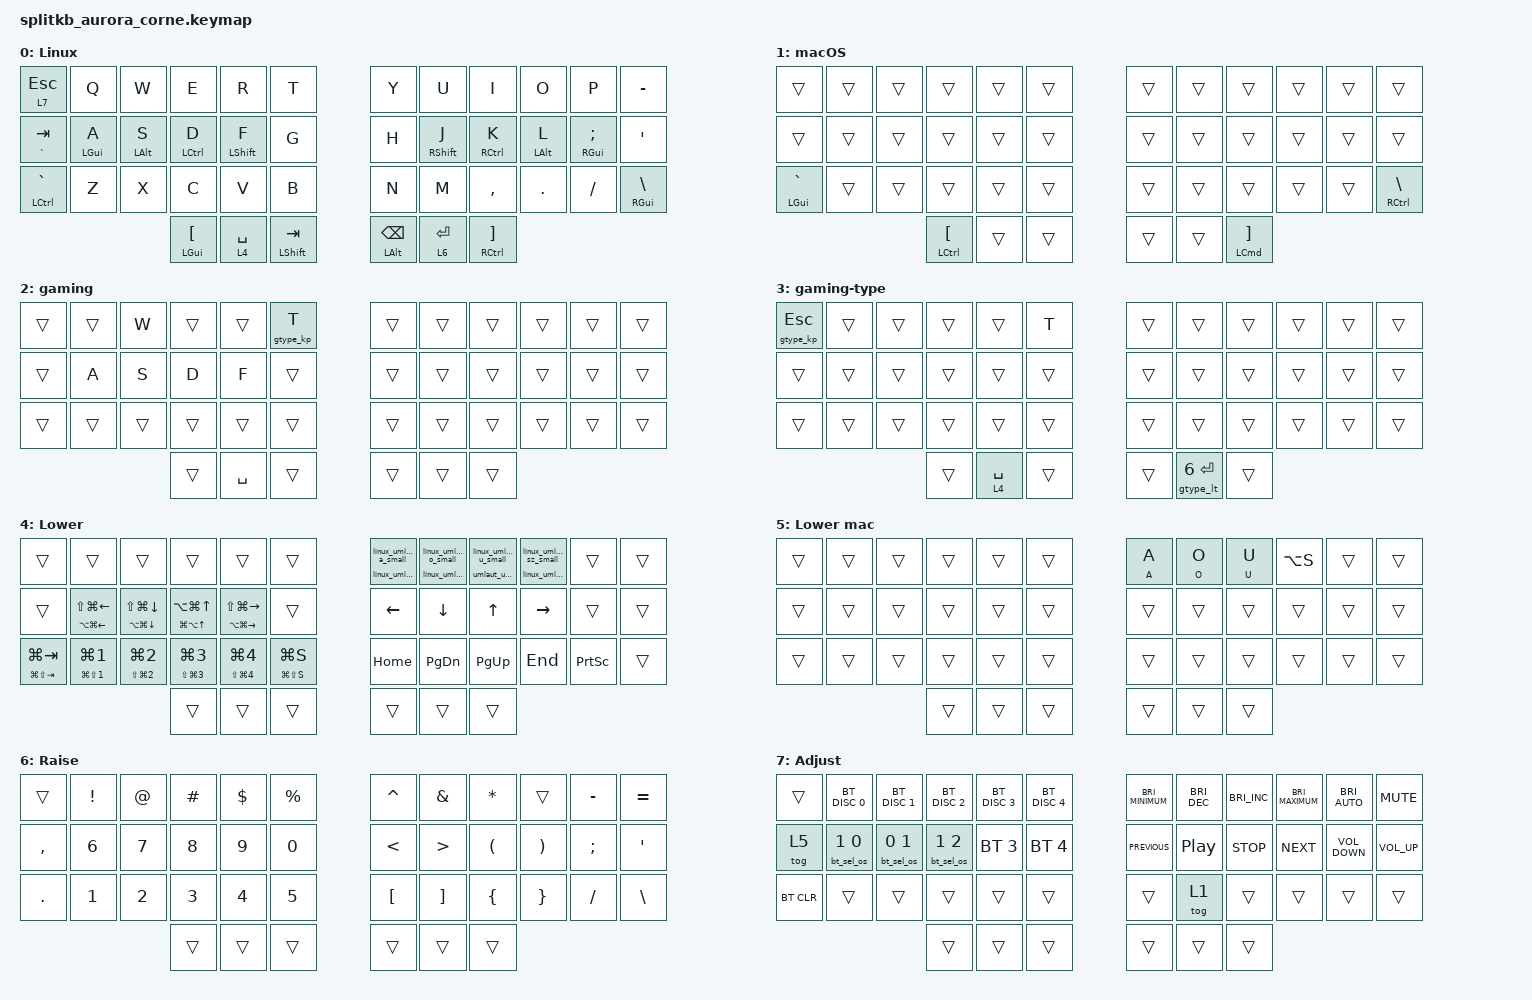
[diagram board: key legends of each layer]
/*
 * Copyright (c) 2020 The ZMK Contributors
 *
 * SPDX-License-Identifier: MIT
 */

#include <behaviors.dtsi>
#include <dt-bindings/zmk/bt.h>
#include <dt-bindings/zmk/keys.h>

/ {
    macros {
        bt_sel_os: bt_select_os {
            compatible = "zmk,behavior-macro-two-param";
            #binding-cells = <2>;
            bindings = <&macro_param_1to1 &to MACRO_PLACEHOLDER &macro_param_2to2 &bt BT_SEL MACRO_PLACEHOLDER>;
            label = "BT_SELECT_OS";
        };

        linux_umlaut_a_up: umlaut_a_up {
            compatible = "zmk,behavior-macro";
            #binding-cells = <0>;
            bindings = <&kp LS(LC(U)) &kp C &kp KP_NUMBER_4 &kp SPACE>;
            label = "UMLAUT_A_UP";
        };

        linux_umlaut_a_small: umlaut_a_small {
            compatible = "zmk,behavior-macro";
            #binding-cells = <0>;
            bindings = <&kp LS(LC(U)) &kp E &kp KP_NUMBER_4 &kp SPACE>;
            label = "UMLAUT_A_SMALL";
        };

        linux_umlaut_o_up: umlaut_o_up {
            compatible = "zmk,behavior-macro";
            #binding-cells = <0>;
            bindings = <&kp LS(LC(U)) &kp D &kp KP_NUMBER_6 &kp SPACE>;
            label = "UMLAUT_O_UP";
        };

        linux_umlaut_o_small: umlaut_o_small {
            compatible = "zmk,behavior-macro";
            #binding-cells = <0>;
            bindings = <&kp LS(LC(U)) &kp F &kp KP_NUMBER_6 &kp SPACE>;
            label = "UMLAUT_O_SMALL";
        };

        umlaut_u_up: umlaut_u_up {
            compatible = "zmk,behavior-macro";
            #binding-cells = <0>;
            bindings = <&kp LS(LC(U)) &kp D &kp C &kp SPACE>;
            label = "UMLAUT_U_UP";
        };

        linux_umlaut_u_small: umlaut_u_small {
            compatible = "zmk,behavior-macro";
            #binding-cells = <0>;
            bindings = <&kp LS(LC(U)) &kp F &kp C &kp SPACE>;
            label = "UMLAUT_U_SMALL";
        };

        linux_umlaut_sz_up: umlaut_sz_up {
            compatible = "zmk,behavior-macro";
            #binding-cells = <0>;
            bindings = <&kp LS(LC(U)) &kp KP_NUMBER_1 &kp E &kp KP_NUMBER_9 &kp E &kp SPACE>;
            label = "UMLAUT_SZ_UP";
        };

        linux_umlaut_sz_small: umlaut_sz_small {
            compatible = "zmk,behavior-macro";
            #binding-cells = <0>;
            bindings = <&kp LS(LC(U)) &kp U &kp D &kp F &kp SPACE>;
            label = "UMLAUT_SZ_SMALL";
        };

        mac_umlaut_up: umlaut_mac_all {
            compatible = "zmk,behavior-macro-one-param";
            #binding-cells = <1>;
            bindings = <&kp LA(U) &sk LEFT_SHIFT &macro_param_1to1 &kp MACRO_PLACEHOLDER>;
            label = "UMLAUT_MAC_ALL";
        };

        mac_umlaut_small: umlaut_mac_small {
            compatible = "zmk,behavior-macro-one-param";
            #binding-cells = <1>;
            bindings = <&kp LA(U) &macro_param_1to1 &kp MACRO_PLACEHOLDER>;
            label = "UMLAUT_MAC_SMALL";
        };

        gtype_kp: mkp {
            compatible = "zmk,behavior-macro-one-param";
            #binding-cells = <1>;
            bindings = <&tog 4 &macro_param_1to1 &kp MACRO_PLACEHOLDER>;
            label = "minor keypress";
        };

        gtype_lt: minor_lt {
            compatible = "zmk,behavior-macro-two-param";
            #binding-cells = <2>;
            bindings =
                <&macro_param_1to1 &macro_param_2to2 &lt MACRO_PLACEHOLDER MACRO_PLACEHOLDER>,
                <&macro_tap>,
                <&tog 4>;

            label = "MINOR_LT";
        };
    };

    behaviors {
        hml: homerow_mods_left {
            compatible = "zmk,behavior-hold-tap";
            label = "HOMEROW_MODS_LEFT_HAND";
            bindings = <&kp>, <&kp>;

            #binding-cells = <2>;
            tapping-term-ms = <400>;
            quick-tap-ms = <200>;
            flavor = "tap-preferred";
            hold-trigger-key-positions = <6 7 8 9 10 11 18 19 20 21 22 23 30 31 32 33 34 35 40 41>;
        };

        hmr: homerow_mods_right {
            compatible = "zmk,behavior-hold-tap";
            label = "HOMEROW_MODS_RIGHT_HAND";
            bindings = <&kp>, <&kp>;

            #binding-cells = <2>;
            tapping-term-ms = <400>;
            quick-tap-ms = <200>;
            flavor = "tap-preferred";
            hold-trigger-key-positions = <0 1 2 3 4 5 12 13 14 15 16 17 24 25 26 27 28 29 36 37>;
        };

        mtr: mod_tap_repeat {
            compatible = "zmk,behavior-hold-tap";
            label = "MOD_TAP_REPEAT";
            bindings = <&kp>, <&kp>;

            #binding-cells = <2>;
            tapping-term-ms = <200>;
            quick-tap-ms = <200>;
        };

        lin_umla: linux_umlaut_a {
            compatible = "zmk,behavior-hold-tap";
            label = "LINUX_UMLAUT_A";
            bindings = <&linux_umlaut_a_up>, <&linux_umlaut_a_small>;

            #binding-cells = <2>;
            tapping-term-ms = <200>;
        };

        lin_umlo: linux_umlaut_o {
            compatible = "zmk,behavior-hold-tap";
            label = "LINUX_UMLAUT_O";
            bindings = <&linux_umlaut_o_up>, <&linux_umlaut_o_small>;

            #binding-cells = <2>;
            tapping-term-ms = <200>;
        };

        lin_umlu: linux_umlaut_u {
            compatible = "zmk,behavior-hold-tap";
            label = "LINUX_UMLAUT_U";
            bindings = <&umlaut_u_up>, <&linux_umlaut_u_small>;

            #binding-cells = <2>;
            tapping-term-ms = <200>;
        };

        lin_umlsz: linux_umlaut_sz {
            compatible = "zmk,behavior-hold-tap";
            label = "LINUX_UMLAUT_SZ";
            bindings = <&linux_umlaut_sz_up>, <&linux_umlaut_sz_small>;

            #binding-cells = <2>;
            tapping-term-ms = <200>;
        };

        mac_uml: mac_umlaut {
            compatible = "zmk,behavior-hold-tap";
            label = "MAC_UMLAUT";
            bindings = <&mac_umlaut_up>, <&mac_umlaut_small>;

            #binding-cells = <2>;
            tapping-term-ms = <200>;
        };
    };

    combos {
        compatible = "zmk,combos";

        shift+ctrl-right {
            bindings = <&kp RS(RCTRL)>;
            key-positions = <19 20>;
            layers = <0 5 6>;
        };

        shift+ctrl-left {
            bindings = <&kp LS(LCTRL)>;
            key-positions = <16 15>;
            layers = <0 5 6>;
        };

        shift+super-left {
            bindings = <&kp LS(LCTRL)>;
            key-positions = <16 13>;
            layers = <0 5 6>;
        };

        shift+super-right {
            bindings = <&kp LS(LCTRL)>;
            key-positions = <19 22>;
            layers = <0 5 6>;
        };
    };

    keymap {
        compatible = "zmk,keymap";

        base {
            // -----------------------------------------------------------------------------------------
            // |  TAB |  Q  |  W  |  E  |  R  |  T  |   |  Y  |  U   |  I  |  O  |  P  | BSPC |
            // | CTRL |  A  |  S  |  D  |  F  |  G  |   |  H  |  J   |  K  |  L  |  ;  |  '   |
            // | SHFT |  Z  |  X  |  C  |  V  |  B  |   |  N  |  M   |  ,  |  .  |  /  | ESC  |
            //                    | GUI | LWR | SPC |   | ENT | RSE  | ALT |

            bindings = <
&lt 7 ESCAPE            &kp Q            &kp W            &kp E                      &kp R              &kp T                 &kp Y                    &kp U               &kp I                            &kp O            &kp P                     &kp MINUS
&mt GRAVE TAB           &hml LEFT_GUI A  &hml LEFT_ALT S  &hml LEFT_CONTROL D        &hml LEFT_SHIFT F  &kp G                 &kp H                    &hmr RIGHT_SHIFT J  &hmr RIGHT_CONTROL K             &hmr LEFT_ALT L  &hmr RIGHT_GUI SEMICOLON  &kp SQT
&mt LEFT_CONTROL GRAVE  &kp Z            &kp X            &kp C                      &kp V              &kp B                 &kp N                    &kp M               &kp COMMA                        &kp DOT          &kp FSLH                  &mt RIGHT_GUI BACKSLASH
                                                          &mt LEFT_GUI LEFT_BRACKET  &lt 4 SPACE        &mt LEFT_SHIFT TAB    &mtr LEFT_ALT BACKSPACE  &lt 6 ENTER         &mt RIGHT_CONTROL RIGHT_BRACKET
            >;

            label = "Linux";
        };

        base-mac {
            bindings = <
&trans              &trans  &trans  &trans                         &trans  &trans    &trans  &trans  &trans                          &trans  &trans  &trans
&trans              &trans  &trans  &trans                         &trans  &trans    &trans  &trans  &trans                          &trans  &trans  &trans
&mt LEFT_GUI GRAVE  &trans  &trans  &trans                         &trans  &trans    &trans  &trans  &trans                          &trans  &trans  &mt RIGHT_CONTROL BACKSLASH
                                    &mt LEFT_CONTROL LEFT_BRACKET  &trans  &trans    &trans  &trans  &mt LEFT_COMMAND RIGHT_BRACKET
            >;

            label = "macOS";
        };

        gaming {
            bindings = <
&trans  &trans  &kp W   &trans  &trans     &gtype_kp T    &trans  &trans  &trans  &trans  &trans  &trans
&trans  &kp A   &kp S   &kp D   &kp F      &trans         &trans  &trans  &trans  &trans  &trans  &trans
&trans  &trans  &trans  &trans  &trans     &trans         &trans  &trans  &trans  &trans  &trans  &trans
                        &trans  &kp SPACE  &trans         &trans  &trans  &trans
            >;
        };

        gaming-type {
            bindings = <
&gtype_kp ESCAPE  &trans  &trans  &trans  &trans       &kp T     &trans  &trans             &trans  &trans  &trans  &trans
&trans            &trans  &trans  &trans  &trans       &trans    &trans  &trans             &trans  &trans  &trans  &trans
&trans            &trans  &trans  &trans  &trans       &trans    &trans  &trans             &trans  &trans  &trans  &trans
                                  &trans  &lt 4 SPACE  &trans    &trans  &gtype_lt 6 ENTER  &trans
            >;
        };

        lower {
            bindings = <
&trans                   &trans                             &trans                                      &trans                                  &trans                                        &trans                 &lin_umla 0 0   &lin_umlo 0 0   &lin_umlu 0 0  &lin_umlsz 0 0   &trans           &trans
&trans                   &mtr LA(LG(LEFT)) LS(LG(LEFT))     &mtr LA(LG(DOWN_ARROW)) LS(LG(DOWN_ARROW))  &mtr LG(LA(UP_ARROW)) LA(LG(UP_ARROW))  &mtr LA(LG(RIGHT_ARROW)) LS(LG(RIGHT_ARROW))  &trans                 &kp LEFT_ARROW  &kp DOWN_ARROW  &kp UP_ARROW   &kp RIGHT_ARROW  &trans           &trans
&mt LG(LS(TAB)) LG(TAB)  &mt LG(LS(NUMBER_1)) LG(NUMBER_1)  &mt LS(LG(NUMBER_2)) LG(NUMBER_2)           &mt LS(LG(NUMBER_3)) LG(NUMBER_3)       &mt LS(LG(NUMBER_4)) LG(NUMBER_4)             &mt LG(LS(S)) LG(S)    &kp HOME        &kp PAGE_DOWN   &kp PAGE_UP    &kp END          &kp PRINTSCREEN  &trans
                                                                                                        &trans                                  &trans                                        &trans                 &trans          &trans          &trans
            >;

            label = "Lower";
        };

        lower-mac {
            bindings = <
&trans  &trans  &trans  &trans  &trans  &trans    &mac_uml A A  &mac_uml O O  &mac_uml U U  &kp LA(S)  &trans  &trans
&trans  &trans  &trans  &trans  &trans  &trans    &trans        &trans        &trans        &trans     &trans  &trans
&trans  &trans  &trans  &trans  &trans  &trans    &trans        &trans        &trans        &trans     &trans  &trans
                        &trans  &trans  &trans    &trans        &trans        &trans
            >;

            label = "Lower mac";
        };

        raise {
            bindings = <
&trans     &kp EXCLAMATION  &kp AT_SIGN  &kp POUND  &kp DOLLAR  &kp PERCENT    &kp CARET      &kp AMPERSAND     &kp ASTERISK          &trans                 &kp MINUS  &kp EQUAL
&kp COMMA  &kp N6           &kp N7       &kp N8     &kp N9      &kp N0         &kp LESS_THAN  &kp GREATER_THAN  &kp LEFT_PARENTHESIS  &kp RIGHT_PARENTHESIS  &kp SEMI   &kp SQT
&kp DOT    &kp N1           &kp N2       &kp N3     &kp N4      &kp N5         &kp LBKT       &kp RBKT          &kp LEFT_BRACE        &kp RIGHT_BRACE        &kp FSLH   &kp BSLH
                                         &trans     &trans      &trans         &trans         &trans            &trans
            >;

            label = "Raise";
        };

        adjust {
            bindings = <
&trans      &bt BT_DISC 0   &bt BT_DISC 1   &bt BT_DISC 2   &bt BT_DISC 3  &bt BT_DISC 4    &kp C_BRIGHTNESS_MINIMUM  &kp C_BRIGHTNESS_DEC  &kp C_BRIGHTNESS_INC  &kp C_BRIGHTNESS_MAXIMUM  &kp C_BRIGHTNESS_AUTO  &kp K_MUTE
&tog 5      &bt_sel_os 1 0  &bt_sel_os 0 1  &bt_sel_os 1 2  &bt BT_SEL 3   &bt BT_SEL 4     &kp K_PREVIOUS            &kp C_PLAY_PAUSE      &kp K_STOP            &kp K_NEXT                &kp C_VOLUME_DOWN      &kp C_VOLUME_UP
&bt BT_CLR  &trans          &trans          &trans          &trans         &trans           &trans                    &tog 1                &trans                &trans                    &trans                 &trans
                                            &trans          &trans         &trans           &trans                    &trans                &trans
            >;

            label = "Adjust";
        };
    };

    conditional_layers {
        compatible = "zmk,conditional-layers";

        lower-mac {
            if-layers = <1 4>;
            then-layer = <5>;
        };
    };
};
